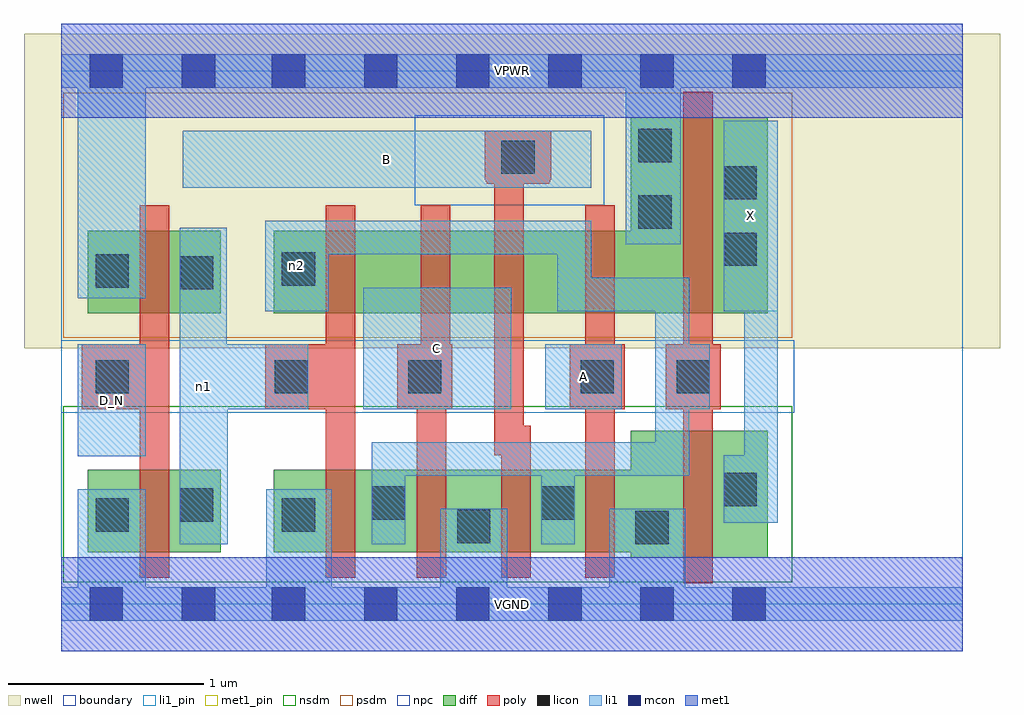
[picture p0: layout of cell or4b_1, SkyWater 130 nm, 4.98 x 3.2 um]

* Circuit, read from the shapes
.subckt or4b_1 A B C D_N VGND VPWR X n1 n2
XM1 n1 D_N VGND VSUBS sky130_fd_pr__nfet_01v8 w=0.42 l=0.15
XM2 n2 n1 VGND VSUBS sky130_fd_pr__nfet_01v8 w=0.42 l=0.15
XM3 VGND C n2 VSUBS sky130_fd_pr__nfet_01v8 w=0.42 l=0.15
XM4 n2 B VGND VSUBS sky130_fd_pr__nfet_01v8 w=0.42 l=0.15
XM5 VGND A n2 VSUBS sky130_fd_pr__nfet_01v8 w=0.42 l=0.15
XM6 X n2 VGND VSUBS sky130_fd_pr__nfet_01v8 w=0.65 l=0.15
XM7 n1 D_N VPWR n3 sky130_fd_pr__pfet_01v8 w=0.42 l=0.15
XM8 n4 n1 n2 n3 sky130_fd_pr__pfet_01v8 w=0.42 l=0.15
XM9 n5 C n4 n3 sky130_fd_pr__pfet_01v8 w=0.42 l=0.15
XM10 n6 B n5 n3 sky130_fd_pr__pfet_01v8 w=0.42 l=0.15
XM11 VPWR A n6 n3 sky130_fd_pr__pfet_01v8 w=0.42 l=0.15
XM12 X n2 VPWR n3 sky130_fd_pr__pfet_01v8 w=1 l=0.15
.ends

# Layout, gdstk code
import gdstk
lib = gdstk.Library(unit=1e-6, precision=1e-09)
def R(c, l, rs):  # rectangles x0, y0, x1, y1
    for r in rs: c.add(gdstk.rectangle(r[:2], r[2:], *l))
def A(c, l, x, y, w, h, nx, ny, dx, dy):  # array of equal rectangles
    R(c, l, [(x+i*dx, y+j*dy, x+i*dx+w, y+j*dy+h) for i in range(nx) for j in range(ny)])
nwell = (64, 20)
diff = (65, 20)
poly = (66, 20)
licon = (66, 44)
li1_pin = (67, 16)
li1 = (67, 20)
mcon = (67, 44)
met1_pin = (68, 16)
met1 = (68, 20)
nsdm = (93, 44)
psdm = (94, 20)
npc = (95, 20)
boundary = (235, 4)

or4b_1 = lib.new_cell('or4b_1')
R(or4b_1, nwell, [(-0.19,1.305,4.79,2.91), (0,1.305,4.6,2.91)])
R(or4b_1, diff, [(2.905,0.235,3.605,0.885), (0.135,0.265,0.815,0.685), (1.085,0.265,3.605,0.685), (0.135,1.485,0.815,1.905), (1.085,1.485,3.605,1.905), (2.905,1.485,3.605,2.485)])
R(or4b_1, poly, [(3.175,0.105,3.325,2.615), (0.4,0.135,0.55,2.035), (1.35,0.135,1.5,2.035), (1.815,0.135,1.965,1.325), (2.245,0.135,2.395,0.91), (2.675,0.135,2.825,2.035), (2.21,0.76,2.36,2.415), (0.105,0.995,0.55,1.325), (1.04,0.995,1.5,1.325), (1.715,0.995,1.995,1.325), (1.835,0.995,1.985,2.035), (2.595,0.995,2.875,1.325), (3.085,0.995,3.365,1.325), (2.17,2.145,2.49,2.415), (2.165,2.155,2.495,2.415), (2.16,2.165,2.5,2.415)])
R(or4b_1, licon, [(2.93,0.305,3.1,0.475), (2.02,0.31,2.19,0.48), (0.175,0.37,0.345,0.54), (1.125,0.37,1.295,0.54), (0.605,0.42,0.775,0.59), (1.585,0.43,1.755,0.6), (2.45,0.43,2.62,0.6), (3.38,0.5,3.55,0.67), (0.175,1.075,0.345,1.245), (1.09,1.075,1.26,1.245), (1.77,1.075,1.94,1.245), (2.65,1.075,2.82,1.245), (3.14,1.075,3.31,1.245), (0.605,1.605,0.775,1.775), (0.175,1.615,0.345,1.785), (1.125,1.625,1.295,1.795), (3.38,1.725,3.55,1.895), (2.945,1.915,3.115,2.085), (3.38,2.065,3.55,2.235), (2.245,2.195,2.415,2.365), (2.945,2.255,3.115,2.425)])
R(or4b_1, li1_pin, [(0.085,0.755,0.43,1.325), (1.54,0.995,2.295,1.615), (2.47,0.995,2.86,1.325), (3.38,1.495,3.655,2.465), (0.62,2.125,2.705,2.415)])
R(or4b_1, li1, [(0,-0.085,4.6,0.085), (0.085,-0.085,0.43,0.585), (1.045,-0.085,1.38,0.585), (1.935,-0.085,2.275,0.485), (2.795,-0.085,3.185,0.485), (0.605,0.305,0.845,1.92), (0.605,0.305,0.85,1.325), (1.585,0.305,1.755,0.825), (2.45,0.305,2.62,0.825), (3.38,0.415,3.655,0.76), (3.485,0.415,3.655,2.465), (1.585,0.655,3.205,0.825), (3.03,0.655,3.205,1.665), (0.085,0.755,0.43,1.325), (0.605,0.995,1.26,1.325), (1.54,0.995,2.295,1.615), (2.47,0.995,2.86,1.325), (3.03,0.995,3.31,1.325), (1.04,1.495,1.365,1.955), (2.53,1.495,3.205,1.665), (2.53,1.495,2.705,1.955), (3.38,1.495,3.655,2.465), (0.085,1.56,0.43,2.805), (1.04,1.785,2.705,1.955), (2.88,1.835,3.16,2.805), (0.62,2.125,2.705,2.415), (0,2.635,4.6,2.805)])
A(or4b_1, mcon, 1.075, -0.085, 0.17, 0.17, 6, 2, 0.47, 2.72)
R(or4b_1, mcon, [(0.145,-0.085,0.315,0.085), (0.615,-0.085,0.785,0.085), (0.145,2.635,0.315,2.805), (0.615,2.635,0.785,2.805)])
R(or4b_1, met1_pin, [(0,-0.24,4.6,0.24), (0,2.48,4.6,2.96)])
R(or4b_1, met1, [(0,-0.24,4.6,0.24), (0,2.48,4.6,2.96)])
R(or4b_1, nsdm, [(0.01,0.11,3.73,1.01)])
R(or4b_1, psdm, [(0.01,1.36,3.73,2.61)])
R(or4b_1, npc, [(0,0.975,3.74,1.345), (1.805,2.035,2.77,2.495)])
R(or4b_1, boundary, [(0,0,4.6,2.72)])
or4b_1.add(gdstk.Label('A', (2.665,1.16), layer=67, texttype=5))
or4b_1.add(gdstk.Label('B', (1.662,2.27), layer=67, texttype=5))
or4b_1.add(gdstk.Label('C', (1.917,1.305), layer=67, texttype=5))
or4b_1.add(gdstk.Label('D_N', (0.257,1.04), layer=67, texttype=5))
or4b_1.add(gdstk.Label('X', (3.517,1.98), layer=67, texttype=5))
or4b_1.add(gdstk.Label('n1', (0.725,1.112), layer=67, texttype=5))
or4b_1.add(gdstk.Label('n2', (1.202,1.725), layer=67, texttype=5))
or4b_1.add(gdstk.Label('VPWR', (2.3,2.72), layer=68, texttype=5))
or4b_1.add(gdstk.Label('VGND', (2.3,0), layer=68, texttype=5))
or4b_1.add(gdstk.Label('A', (2.665,1.16), layer=67, texttype=16))
or4b_1.add(gdstk.Label('B', (1.662,2.27), layer=67, texttype=16))
or4b_1.add(gdstk.Label('C', (1.917,1.305), layer=67, texttype=16))
or4b_1.add(gdstk.Label('D_N', (0.257,1.04), layer=67, texttype=16))
or4b_1.add(gdstk.Label('X', (3.517,1.98), layer=67, texttype=16))
or4b_1.add(gdstk.Label('VPWR', (2.3,2.72), layer=68, texttype=16))
or4b_1.add(gdstk.Label('VGND', (2.3,0), layer=68, texttype=16))

lib.write_gds('or4b_1.gds')
